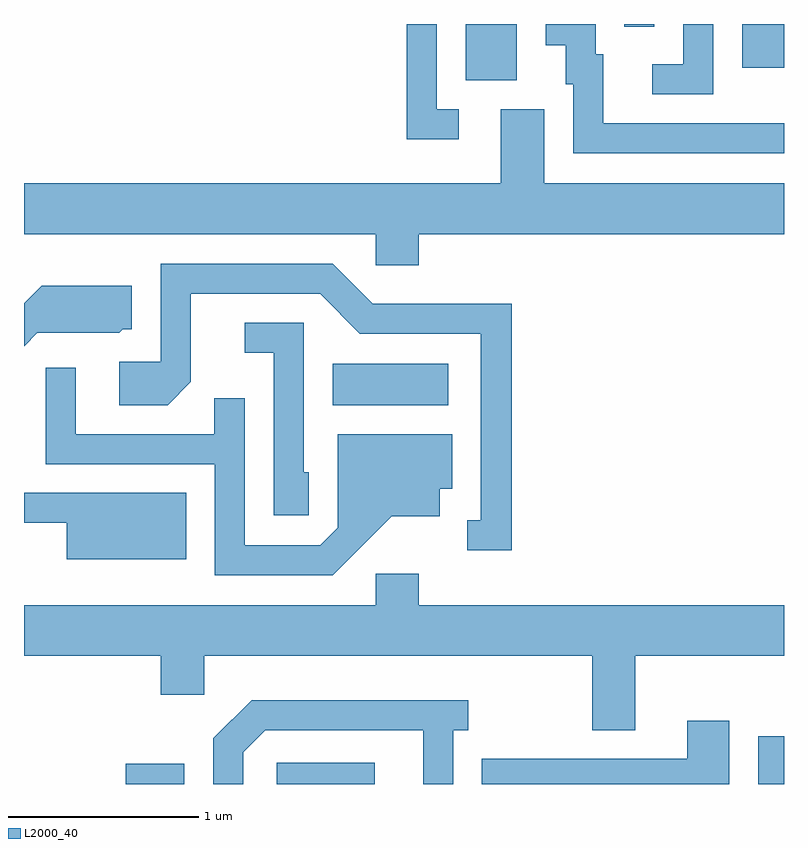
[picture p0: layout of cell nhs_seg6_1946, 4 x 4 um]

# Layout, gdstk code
import gdstk
lib = gdstk.Library(unit=1e-6, precision=1e-09)
def R(c, l, rs):  # rectangles x0, y0, x1, y1
    for r in rs: c.add(gdstk.rectangle(r[:2], r[2:], *l))
def P(c, l, *ps):  # polygons
    for p in ps: c.add(gdstk.Polygon(p, *l))
L2000_40 = (2000, 40)

nhs_seg6_1946 = lib.new_cell('nhs_seg6_1946')
R(nhs_seg6_1946, L2000_40, [(244.146,1638.162,244.454,1638.269), (244.941,1638.162,245.458,1638.274), (247.476,1638.162,247.611,1638.414), (245.236,1640.156,245.844,1640.374), (245.936,1641.866,246.204,1642.162), (247.391,1641.931,247.611,1642.162), (246.771,1642.148,246.929,1642.162)])
P(nhs_seg6_1946, L2000_40, [(247.239,1642.162),(247.081,1642.162),(247.081,1641.949),(246.918,1641.949),(246.918,1641.791),(247.239,1641.791)],
  [(247.611,1641.639),(246.659,1641.639),(246.659,1642.004),(246.619,1642.004),(246.619,1642.162),(246.356,1642.162),(246.356,1642.051),(246.461,1642.051),(246.461,1641.846),(246.501,1641.846),(246.501,1641.481),(247.611,1641.481)],
  [(245.898,1641.714),(245.784,1641.714),(245.784,1642.162),(245.626,1642.162),(245.626,1641.556),(245.898,1641.556)],
  [(245.689,1641.056),(247.611,1641.056),(247.611,1641.324),(246.349,1641.324),(246.349,1641.714),(246.121,1641.714),(246.121,1641.324),(243.611,1641.324),(243.611,1641.056),(245.461,1641.056),(245.461,1640.891),(245.689,1640.891)],
  [(246.179,1640.689),(245.447,1640.689),(245.237,1640.899),(244.331,1640.899),(244.331,1640.384),(244.111,1640.384),(244.111,1640.156),(244.367,1640.156),(244.489,1640.279),(244.489,1640.741),(245.169,1640.741),(245.379,1640.531),(246.016,1640.531),(246.016,1639.549),(245.943,1639.549),(245.943,1639.391),(246.179,1639.391)],
  [(243.682,1640.536),(244.112,1640.536),(244.132,1640.556),(244.179,1640.556),(244.179,1640.784),(243.704,1640.784),(243.611,1640.691),(243.611,1640.466)],
  [(245.109,1639.804),(245.084,1639.804),(245.084,1640.589),(244.773,1640.589),(244.773,1640.431),(244.926,1640.431),(244.926,1639.576),(245.109,1639.576)],
  [(245.547,1639.571),(245.799,1639.571),(245.799,1639.716),(245.864,1639.716),(245.864,1640.004),(245.261,1640.004),(245.261,1639.512),(245.169,1639.419),(244.774,1639.419),(244.774,1640.193),(244.611,1640.193),(244.611,1640.004),(243.884,1640.004),(243.884,1640.353),(243.726,1640.353),(243.726,1639.846),(244.616,1639.846),(244.616,1639.261),(245.237,1639.261)],
  [(244.464,1639.694),(243.611,1639.694),(243.611,1639.536),(243.836,1639.536),(243.836,1639.346),(244.464,1639.346)],
  [(246.829,1638.836),(247.611,1638.836),(247.611,1639.104),(245.689,1639.104),(245.689,1639.269),(245.461,1639.269),(245.461,1639.104),(243.611,1639.104),(243.611,1638.836),(244.331,1638.836),(244.331,1638.631),(244.559,1638.631),(244.559,1638.836),(246.601,1638.836),(246.601,1638.446),(246.829,1638.446)],
  [(244.764,1638.329),(244.882,1638.446),(245.711,1638.446),(245.711,1638.162),(245.869,1638.162),(245.869,1638.446),(245.948,1638.446),(245.948,1638.604),(244.809,1638.604),(244.606,1638.402),(244.606,1638.162),(244.764,1638.162)],
  [(247.324,1638.494),(247.101,1638.494),(247.101,1638.294),(246.021,1638.294),(246.021,1638.162),(247.324,1638.162)])

lib.write_gds('nhs_seg6_1946.gds')
